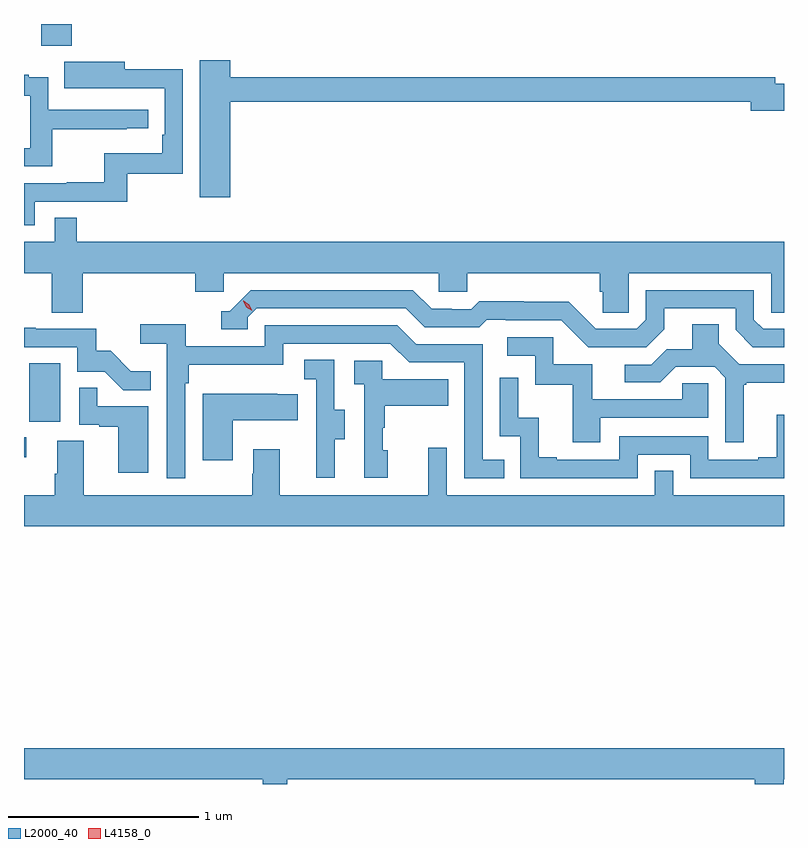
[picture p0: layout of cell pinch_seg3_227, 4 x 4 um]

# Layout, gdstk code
import gdstk
lib = gdstk.Library(unit=1e-6, precision=1e-09)
def R(c, l, rs):  # rectangles x0, y0, x1, y1
    for r in rs: c.add(gdstk.rectangle(r[:2], r[2:], *l))
def P(c, l, *ps):  # polygons
    for p in ps: c.add(gdstk.Polygon(p, *l))
L2000_40 = (2000, 40)
L4158_0 = (4158, 0)

pinch_seg3_227 = lib.new_cell('pinch_seg3_227')
R(pinch_seg3_227, L2000_40, [(924.532,729.252,924.544,729.357), (924.56,729.438,924.724,729.745), (924.622,731.417,924.782,731.531)])
P(pinch_seg3_227, L2000_40, [(925.618,731.122),(928.358,731.122),(928.358,731.075),(928.532,731.075),(928.532,731.217),(928.486,731.217),(928.486,731.251),(925.618,731.251),(925.618,731.341),(925.457,731.341),(925.457,730.62),(925.618,730.62)],
  [(924.588,730.596),(925.075,730.596),(925.075,730.743),(925.368,730.743),(925.368,731.294),(925.063,731.294),(925.063,731.332),(924.745,731.332),(924.745,731.192),(924.959,731.192),(924.959,731.193),(925.272,731.193),(925.272,730.948),(925.259,730.948),(925.259,730.852),(924.954,730.852),(924.954,730.697),(924.757,730.697),(924.757,730.692),(924.532,730.692),(924.532,730.473),(924.588,730.473)],
  [(924.68,730.978),(925.073,730.978),(925.073,730.983),(925.186,730.983),(925.186,731.079),(924.66,731.079),(924.66,731.251),(924.557,731.251),(924.557,731.263),(924.532,731.263),(924.532,731.154),(924.564,731.154),(924.564,730.878),(924.532,730.878),(924.532,730.782),(924.68,730.782)],
  [(924.842,730.22),(925.433,730.22),(925.433,730.122),(925.584,730.122),(925.584,730.22),(926.715,730.22),(926.715,730.122),(926.865,730.122),(926.865,730.22),(927.563,730.22),(927.563,730.122),(927.577,730.122),(927.577,730.012),(927.714,730.012),(927.714,730.22),(928.464,730.22),(928.464,730.012),(928.532,730.012),(928.532,730.384),(924.809,730.384),(924.809,730.511),(924.693,730.511),(924.693,730.384),(924.532,730.384),(924.532,730.22),(924.677,730.22),(924.677,730.012),(924.842,730.012)],
  [(927.901,729.925),(927.901,730.035),(928.278,730.035),(928.278,729.921),(928.368,729.831),(928.532,729.831),(928.532,729.927),(928.422,729.927),(928.374,729.975),(928.374,730.131),(927.804,730.131),(927.804,729.975),(927.756,729.927),(927.54,729.927),(927.398,730.069),(927.162,730.069),(927.162,730.072),(926.929,730.072),(926.887,730.029),(926.784,730.029),(926.784,730.032),(926.677,730.032),(926.578,730.131),(925.725,730.131),(925.614,730.02),(925.571,730.02),(925.571,729.924),(925.71,729.924),(925.71,729.987),(925.758,730.035),(926.541,730.035),(926.64,729.936),(926.929,729.936),(926.968,729.975),(927.067,729.975),(927.067,729.972),(927.36,729.972),(927.501,729.831),(927.807,729.831)],
  [(925.38,729.641),(925.4,729.641),(925.4,729.737),(925.896,729.737),(925.896,729.849),(926.46,729.849),(926.559,729.75),(926.85,729.75),(926.85,729.141),(927.059,729.141),(927.059,729.237),(926.946,729.237),(926.946,729.846),(926.596,729.846),(926.497,729.945),(925.8,729.945),(925.8,729.834),(925.382,729.834),(925.382,729.95),(925.143,729.95),(925.143,729.848),(925.284,729.848),(925.284,729.141),(925.38,729.141)],
  [(928.321,729.633),(928.333,729.633),(928.333,729.644),(928.532,729.644),(928.532,729.741),(928.296,729.741),(928.189,729.848),(928.189,729.95),(928.049,729.95),(928.049,729.818),(927.914,729.818),(927.834,729.738),(927.693,729.738),(927.693,729.645),(927.88,729.645),(927.961,729.726),(928.167,729.726),(928.224,729.669),(928.224,729.33),(928.321,729.33)],
  [(925.199,729.703),(925.095,729.703),(924.988,729.81),(924.912,729.81),(924.912,729.927),(924.593,729.927),(924.593,729.932),(924.532,729.932),(924.532,729.831),(924.813,729.831),(924.813,729.702),(924.957,729.702),(925.055,729.604),(925.199,729.604)],
  [(927.565,729.459),(928.134,729.459),(928.134,729.639),(927.997,729.639),(927.997,729.555),(927.523,729.555),(927.523,729.741),(927.318,729.741),(927.318,729.882),(927.075,729.882),(927.075,729.786),(927.222,729.786),(927.222,729.633),(927.421,729.633),(927.421,729.33),(927.565,729.33)],
  [(926.167,729.346),(926.221,729.346),(926.221,729.501),(926.166,729.501),(926.166,729.764),(926.007,729.764),(926.007,729.661),(926.07,729.661),(926.07,729.357),(926.069,729.357),(926.069,729.144),(926.167,729.144)],
  [(926.446,729.288),(926.421,729.288),(926.421,729.407),(926.431,729.407),(926.431,729.521),(926.765,729.521),(926.765,729.661),(926.418,729.661),(926.418,729.759),(926.271,729.759),(926.271,729.635),(926.322,729.635),(926.322,729.144),(926.446,729.144)],
  [(927.762,729.264),(928.038,729.264),(928.038,729.141),(928.532,729.141),(928.532,729.475),(928.493,729.475),(928.493,729.25),(928.397,729.25),(928.397,729.237),(928.134,729.237),(928.134,729.36),(927.666,729.36),(927.666,729.237),(927.337,729.237),(927.337,729.25),(927.242,729.25),(927.242,729.458),(927.132,729.458),(927.132,729.67),(927.036,729.67),(927.036,729.36),(927.144,729.36),(927.144,729.141),(927.762,729.141)],
  [(925.186,729.519),(924.917,729.519),(924.917,729.617),(924.822,729.617),(924.822,729.423),(924.929,729.423),(924.929,729.411),(925.028,729.411),(925.028,729.168),(925.186,729.168)],
  [(925.63,729.446),(925.973,729.446),(925.973,729.583),(925.865,729.583),(925.865,729.586),(925.472,729.586),(925.472,729.234),(925.63,729.234)],
  [(926.66,729.301),(926.66,729.052),(925.879,729.052),(925.879,729.292),(925.739,729.292),(925.739,729.164),(925.732,729.164),(925.732,729.052),(924.847,729.052),(924.847,729.338),(924.707,729.338),(924.707,729.164),(924.695,729.164),(924.695,729.052),(924.532,729.052),(924.532,728.888),(928.532,728.888),(928.532,729.052),(927.948,729.052),(927.948,729.179),(927.852,729.179),(927.852,729.052),(926.757,729.052),(926.757,729.301)],
  [(925.918,727.556),(928.379,727.556),(928.379,727.531),(928.531,727.531),(928.531,727.556),(928.532,727.556),(928.532,727.72),(924.532,727.72),(924.532,727.556),(925.789,727.556),(925.789,727.531),(925.918,727.531)])
P(pinch_seg3_227, L4158_0, [(925.733,730.021),(925.703,730.04),(925.687,730.073),(925.687,730.074),(925.688,730.074),(925.718,730.054),(925.734,730.021),(925.734,730.021)])

lib.write_gds('pinch_seg3_227.gds')
